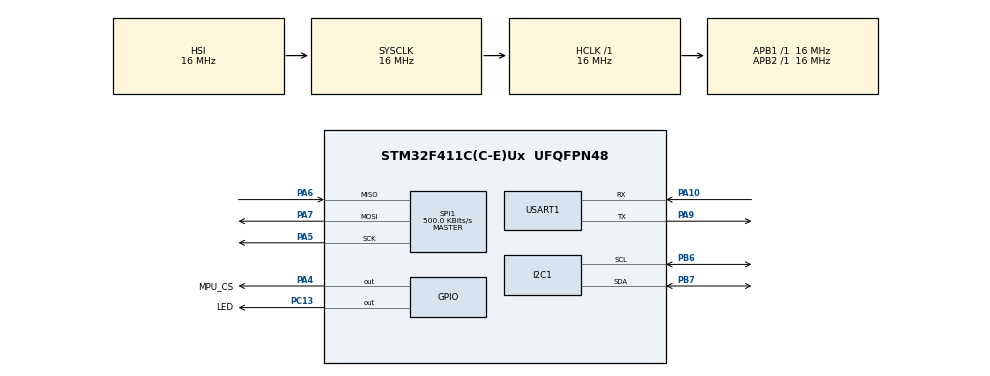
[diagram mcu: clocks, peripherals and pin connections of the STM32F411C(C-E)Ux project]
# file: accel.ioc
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Mcu.Family=STM32F4
Mcu.Name=STM32F411C(C-E)Ux
Mcu.Package=UFQFPN48
NVIC.PriorityGroup=NVIC_PRIORITYGROUP_4
PA10.Mode=Asynchronous
PA10.Signal=USART1_RX
PA4.GPIO_Label=MPU_CS
PA4.Signal=GPIO_Output
PA5.Mode=Full_Duplex_Master
PA5.Signal=SPI1_SCK
PA6.Mode=Full_Duplex_Master
PA6.Signal=SPI1_MISO
PA7.Mode=Full_Duplex_Master
PA7.Signal=SPI1_MOSI
PA9.Mode=Asynchronous
PA9.Signal=USART1_TX
PB6.Mode=I2C
PB6.Signal=I2C1_SCL
PB7.Mode=I2C
PB7.Signal=I2C1_SDA
PC13-ANTI_TAMP.GPIO_Label=LED
PC13-ANTI_TAMP.Signal=GPIO_Output
ProjectManager.HeapSize=0x200
ProjectManager.StackSize=0x400
ProjectManager.TargetToolchain=Makefile
RCC.AHBFreq_Value=16000000
RCC.APB1Freq_Value=16000000
RCC.APB2Freq_Value=16000000
RCC.CortexFreq_Value=16000000
RCC.HSE_VALUE=25000000
RCC.HSI_VALUE=16000000
RCC.LSE_VALUE=32768
RCC.SYSCLKFreq_VALUE=16000000
RCC.VCOOutputFreq_Value=192000000
SPI1.BaudRatePrescaler=SPI_BAUDRATEPRESCALER_32
SPI1.CLKPhase=SPI_PHASE_2EDGE
SPI1.CLKPolarity=SPI_POLARITY_HIGH
SPI1.CalculateBaudRate=500.0 KBits/s
SPI1.Direction=SPI_DIRECTION_2LINES
SPI1.Mode=SPI_MODE_MASTER
SPI1.VirtualType=VM_MASTER
USART1.VirtualMode=VM_ASYNC
board=custom

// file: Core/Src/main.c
/* USER CODE BEGIN Header */
/**
  ******************************************************************************
  * @file           : main.c
  * @brief          : Main program body
  ******************************************************************************
  * @attention
  *
  * Copyright (c) 2023 STMicroelectronics.
  * All rights reserved.
  *
  * This software is licensed under terms that can be found in the LICENSE file
  * in the root directory of this software component.
  * If no LICENSE file comes with this software, it is provided AS-IS.
  *
  ******************************************************************************
  */
/* USER CODE END Header */
#include "main.h"

/* USER CODE BEGIN Includes */
#include "mpu.h"
#include <stdio.h>

/* USER CODE END Includes */

I2C_HandleTypeDef hi2c1;

SPI_HandleTypeDef hspi1;

UART_HandleTypeDef huart1;

/* USER CODE BEGIN PV */
MpuDevice mpu;
/* USER CODE END PV */

void SystemClock_Config(void);
static void MX_GPIO_Init(void);
static void MX_I2C1_Init(void);
static void MX_USART1_UART_Init(void);
static void MX_SPI1_Init(void);
/* USER CODE BEGIN PFP */

static void LedBlink(void) {
  HAL_GPIO_WritePin(LED_GPIO_Port, LED_Pin, GPIO_PIN_SET);
  HAL_Delay(1000);
  HAL_GPIO_WritePin(LED_GPIO_Port, LED_Pin, GPIO_PIN_RESET);
  HAL_Delay(1000);
}

/* USER CODE END PFP */

int main(void)
{

  /* MCU Configuration--------------------------------------------------------*/

  /* Reset of all peripherals, Initializes the Flash interface and the Systick. */
  HAL_Init();

  /* Configure the system clock */
  SystemClock_Config();

  /* Initialize all configured peripherals */
  MX_GPIO_Init();
  MX_I2C1_Init();
  MX_USART1_UART_Init();
  MX_SPI1_Init();
  /* USER CODE BEGIN 2 */

  //MpuInitI2C(&mpu, &hi2c1);
  MpuInitSPI(&mpu, &hspi1);

  /* USER CODE END 2 */

  /* Infinite loop */
  /* USER CODE BEGIN WHILE */
  while (1)
  {
    LedBlink();

    // static const uint8_t msg[] = "Hello!xxx\r\n";
    // uint16_t len = sizeof msg - 1;
    // HAL_UART_Transmit(&huart1, msg, len, 0xFFFF);
    char msg[128];
    int len;

    uint8_t id;
    MpuReadID(&mpu, &id);
    len = snprintf(msg, sizeof msg, "WHO-AM-I: 0x%02x\r\n", id);
    HAL_UART_Transmit(&huart1, (uint8_t *) msg, (uint16_t) len, 0xFFFF);

    MpuData data;
    MpuRead(&mpu, &data);

    len = snprintf(msg, sizeof msg, "A (%6d,%6d,%6d) G (%6d,%6d,%6d)\r\n",
      (int) (int16_t) data.accel.x,
      (int) (int16_t) data.accel.y,
      (int) (int16_t) data.accel.z,
      (int) (int16_t) data.gyro.x,
      (int) (int16_t) data.gyro.y,
      (int) (int16_t) data.gyro.z);
    HAL_UART_Transmit(&huart1, (uint8_t *) msg, (uint16_t) len, 0xFFFF);

    MpuDataFloat dataf;
    MpuReadFloat(&mpu, &dataf);

    len = snprintf(msg, sizeof msg, "A (%6.3f,%6.3f,%6.3f) G (%6.3f,%6.3f,%6.3f)\r\n",
      dataf.accel.x,
      dataf.accel.y,
      dataf.accel.z,
      dataf.gyro.x,
      dataf.gyro.y,
      dataf.gyro.z);
    HAL_UART_Transmit(&huart1, (uint8_t *) msg, (uint16_t) len, 0xFFFF);

    /* USER CODE END WHILE */

  }
}

void SystemClock_Config(void)
{
  RCC_OscInitTypeDef RCC_OscInitStruct = {0};
  RCC_ClkInitTypeDef RCC_ClkInitStruct = {0};

  /** Configure the main internal regulator output voltage
  */
  __HAL_RCC_PWR_CLK_ENABLE();
  __HAL_PWR_VOLTAGESCALING_CONFIG(PWR_REGULATOR_VOLTAGE_SCALE1);

  /** Initializes the RCC Oscillators according to the specified parameters
  * in the RCC_OscInitTypeDef structure.
  */
  RCC_OscInitStruct.OscillatorType = RCC_OSCILLATORTYPE_HSI;
  RCC_OscInitStruct.HSIState = RCC_HSI_ON;
  RCC_OscInitStruct.HSICalibrationValue = RCC_HSICALIBRATION_DEFAULT;
  RCC_OscInitStruct.PLL.PLLState = RCC_PLL_NONE;
  if (HAL_RCC_OscConfig(&RCC_OscInitStruct) != HAL_OK)
  {
    Error_Handler();
  }

  /** Initializes the CPU, AHB and APB buses clocks
  */
  RCC_ClkInitStruct.ClockType = RCC_CLOCKTYPE_HCLK|RCC_CLOCKTYPE_SYSCLK
                              |RCC_CLOCKTYPE_PCLK1|RCC_CLOCKTYPE_PCLK2;
  RCC_ClkInitStruct.SYSCLKSource = RCC_SYSCLKSOURCE_HSI;
  RCC_ClkInitStruct.AHBCLKDivider = RCC_SYSCLK_DIV1;
  RCC_ClkInitStruct.APB1CLKDivider = RCC_HCLK_DIV1;
  RCC_ClkInitStruct.APB2CLKDivider = RCC_HCLK_DIV1;

  if (HAL_RCC_ClockConfig(&RCC_ClkInitStruct, FLASH_LATENCY_0) != HAL_OK)
  {
    Error_Handler();
  }
}

static void MX_I2C1_Init(void)
{

  hi2c1.Instance = I2C1;
  hi2c1.Init.ClockSpeed = 100000;
  hi2c1.Init.DutyCycle = I2C_DUTYCYCLE_2;
  hi2c1.Init.OwnAddress1 = 0;
  hi2c1.Init.AddressingMode = I2C_ADDRESSINGMODE_7BIT;
  hi2c1.Init.DualAddressMode = I2C_DUALADDRESS_DISABLE;
  hi2c1.Init.OwnAddress2 = 0;
  hi2c1.Init.GeneralCallMode = I2C_GENERALCALL_DISABLE;
  hi2c1.Init.NoStretchMode = I2C_NOSTRETCH_DISABLE;
  if (HAL_I2C_Init(&hi2c1) != HAL_OK)
  {
    Error_Handler();
  }

}

static void MX_SPI1_Init(void)
{

  /* SPI1 parameter configuration*/
  hspi1.Instance = SPI1;
  hspi1.Init.Mode = SPI_MODE_MASTER;
  hspi1.Init.Direction = SPI_DIRECTION_2LINES;
  hspi1.Init.DataSize = SPI_DATASIZE_8BIT;
  hspi1.Init.CLKPolarity = SPI_POLARITY_HIGH;
  hspi1.Init.CLKPhase = SPI_PHASE_2EDGE;
  hspi1.Init.NSS = SPI_NSS_SOFT;
  hspi1.Init.BaudRatePrescaler = SPI_BAUDRATEPRESCALER_32;
  hspi1.Init.FirstBit = SPI_FIRSTBIT_MSB;
  hspi1.Init.TIMode = SPI_TIMODE_DISABLE;
  hspi1.Init.CRCCalculation = SPI_CRCCALCULATION_DISABLE;
  hspi1.Init.CRCPolynomial = 10;
  if (HAL_SPI_Init(&hspi1) != HAL_OK)
  {
    Error_Handler();
  }

}

static void MX_USART1_UART_Init(void)
{

  huart1.Instance = USART1;
  huart1.Init.BaudRate = 115200;
  huart1.Init.WordLength = UART_WORDLENGTH_8B;
  huart1.Init.StopBits = UART_STOPBITS_1;
  huart1.Init.Parity = UART_PARITY_NONE;
  huart1.Init.Mode = UART_MODE_TX_RX;
  huart1.Init.HwFlowCtl = UART_HWCONTROL_NONE;
  huart1.Init.OverSampling = UART_OVERSAMPLING_16;
  if (HAL_UART_Init(&huart1) != HAL_OK)
  {
    Error_Handler();
  }

}

static void MX_GPIO_Init(void)
{
  GPIO_InitTypeDef GPIO_InitStruct = {0};

  /* GPIO Ports Clock Enable */
  __HAL_RCC_GPIOC_CLK_ENABLE();
  __HAL_RCC_GPIOA_CLK_ENABLE();
  __HAL_RCC_GPIOB_CLK_ENABLE();

  /*Configure GPIO pin Output Level */
  HAL_GPIO_WritePin(LED_GPIO_Port, LED_Pin, GPIO_PIN_RESET);

  /*Configure GPIO pin Output Level */
  HAL_GPIO_WritePin(MPU_CS_GPIO_Port, MPU_CS_Pin, GPIO_PIN_RESET);

  /*Configure GPIO pin : LED_Pin */
  GPIO_InitStruct.Pin = LED_Pin;
  GPIO_InitStruct.Mode = GPIO_MODE_OUTPUT_PP;
  GPIO_InitStruct.Pull = GPIO_NOPULL;
  GPIO_InitStruct.Speed = GPIO_SPEED_FREQ_LOW;
  HAL_GPIO_Init(LED_GPIO_Port, &GPIO_InitStruct);

  /*Configure GPIO pin : MPU_CS_Pin */
  GPIO_InitStruct.Pin = MPU_CS_Pin;
  GPIO_InitStruct.Mode = GPIO_MODE_OUTPUT_PP;
  GPIO_InitStruct.Pull = GPIO_NOPULL;
  GPIO_InitStruct.Speed = GPIO_SPEED_FREQ_LOW;
  HAL_GPIO_Init(MPU_CS_GPIO_Port, &GPIO_InitStruct);

}

void Error_Handler(void)
{
  __disable_irq();
  while (1)
  {
  }
}
